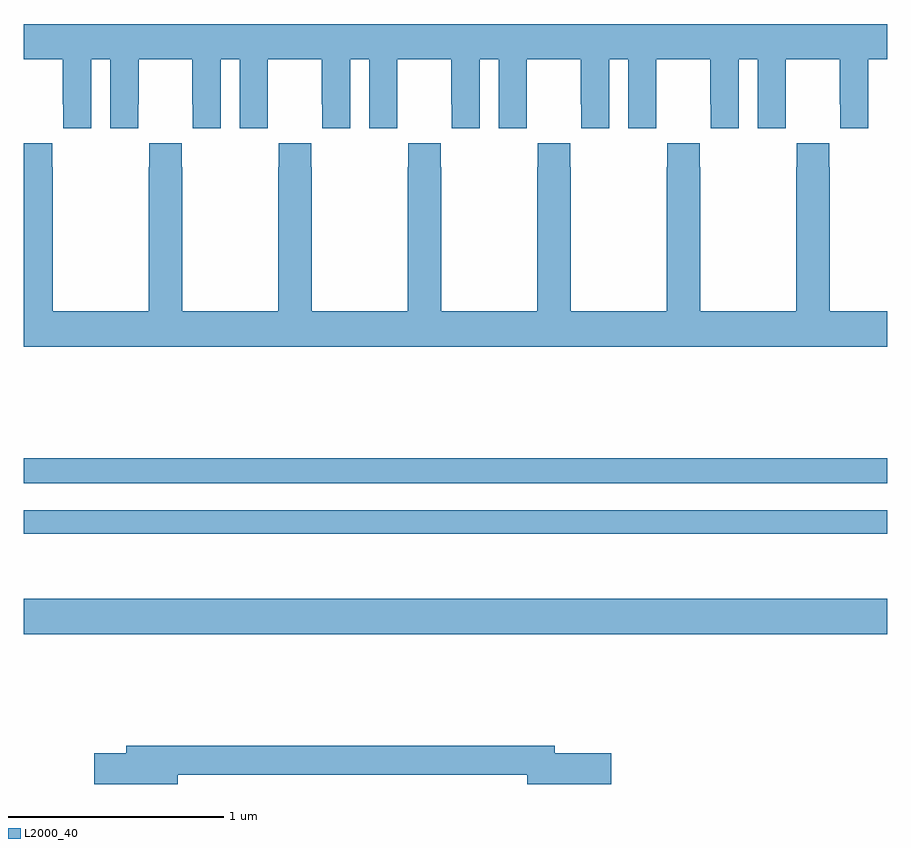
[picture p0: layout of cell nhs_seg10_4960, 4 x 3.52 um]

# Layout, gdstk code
import gdstk
lib = gdstk.Library(unit=1e-6, precision=1e-09)
def R(c, l, rs):  # rectangles x0, y0, x1, y1
    for r in rs: c.add(gdstk.rectangle(r[:2], r[2:], *l))
def P(c, l, *ps):  # polygons
    for p in ps: c.add(gdstk.Polygon(p, *l))
L2000_40 = (2000, 40)

nhs_seg10_4960 = lib.new_cell('nhs_seg10_4960')
R(nhs_seg10_4960, L2000_40, [(397,1317.632,401,1317.796), (397,1318.098,401,1318.206), (397,1318.332,401,1318.448)])
P(nhs_seg10_4960, L2000_40, [(397.312,1320.296),(397.4,1320.296),(397.4,1319.976),(397.53,1319.976),(397.53,1320.088),(397.531,1320.088),(397.531,1320.296),(397.781,1320.296),(397.781,1320.088),(397.782,1320.088),(397.782,1319.976),(397.912,1319.976),(397.912,1320.296),(398,1320.296),(398,1319.976),(398.13,1319.976),(398.13,1320.088),(398.131,1320.088),(398.131,1320.296),(398.381,1320.296),(398.381,1320.088),(398.382,1320.088),(398.382,1319.976),(398.512,1319.976),(398.512,1320.296),(398.6,1320.296),(398.6,1319.976),(398.73,1319.976),(398.73,1320.088),(398.731,1320.088),(398.731,1320.296),(398.981,1320.296),(398.981,1320.088),(398.982,1320.088),(398.982,1319.976),(399.112,1319.976),(399.112,1320.296),(399.2,1320.296),(399.2,1319.976),(399.33,1319.976),(399.33,1320.088),(399.331,1320.088),(399.331,1320.296),(399.581,1320.296),(399.581,1320.088),(399.582,1320.088),(399.582,1319.976),(399.712,1319.976),(399.712,1320.296),(399.8,1320.296),(399.8,1319.976),(399.93,1319.976),(399.93,1320.088),(399.931,1320.088),(399.931,1320.296),(400.181,1320.296),(400.181,1320.088),(400.182,1320.088),(400.182,1319.976),(400.312,1319.976),(400.312,1320.296),(400.4,1320.296),(400.4,1319.976),(400.53,1319.976),(400.53,1320.088),(400.531,1320.088),(400.531,1320.296),(400.781,1320.296),(400.781,1320.088),(400.782,1320.088),(400.782,1319.976),(400.912,1319.976),(400.912,1320.296),(401,1320.296),(401,1320.46),(397,1320.46),(397,1320.296),(397.181,1320.296),(397.181,1320.088),(397.182,1320.088),(397.182,1319.976),(397.312,1319.976)],
  [(401,1319.128),(400.734,1319.128),(400.734,1319.795),(400.731,1319.795),(400.731,1319.908),(400.581,1319.908),(400.581,1319.795),(400.579,1319.795),(400.579,1319.128),(400.134,1319.128),(400.134,1319.795),(400.131,1319.795),(400.131,1319.908),(399.981,1319.908),(399.981,1319.795),(399.979,1319.795),(399.979,1319.128),(399.534,1319.128),(399.534,1319.795),(399.531,1319.795),(399.531,1319.908),(399.381,1319.908),(399.381,1319.795),(399.379,1319.795),(399.379,1319.128),(398.934,1319.128),(398.934,1319.795),(398.931,1319.795),(398.931,1319.908),(398.781,1319.908),(398.781,1319.795),(398.779,1319.795),(398.779,1319.128),(398.334,1319.128),(398.334,1319.795),(398.331,1319.795),(398.331,1319.908),(398.181,1319.908),(398.181,1319.795),(398.179,1319.795),(398.179,1319.128),(397.734,1319.128),(397.734,1319.795),(397.731,1319.795),(397.731,1319.908),(397.581,1319.908),(397.581,1319.795),(397.579,1319.795),(397.579,1319.128),(397.134,1319.128),(397.134,1319.795),(397.131,1319.795),(397.131,1319.908),(397,1319.908),(397,1318.964),(401,1318.964)],
  [(397.714,1316.98),(399.332,1316.98),(399.332,1316.938),(399.721,1316.938),(399.721,1317.08),(399.46,1317.08),(399.46,1317.116),(397.475,1317.116),(397.475,1317.08),(397.326,1317.08),(397.326,1316.938),(397.714,1316.938)])

lib.write_gds('nhs_seg10_4960.gds')
